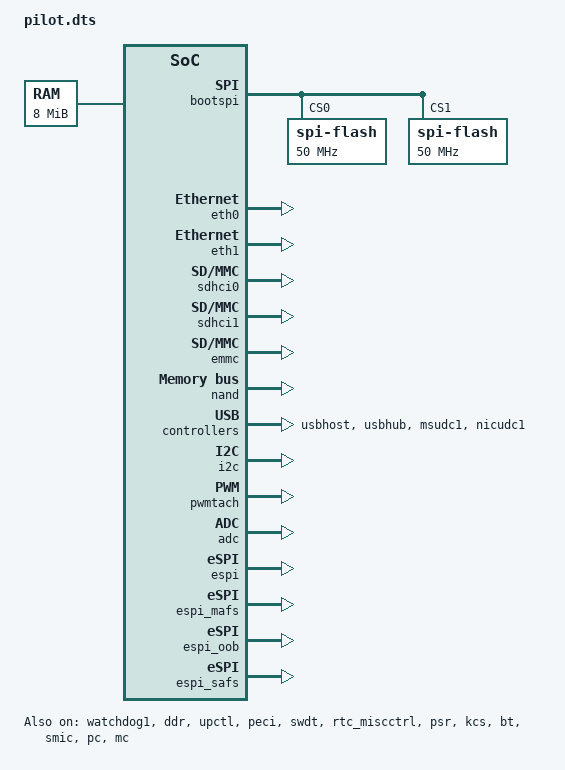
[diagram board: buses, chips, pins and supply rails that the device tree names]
/*
 * Copyright (C) 2018  ASpeed Technology
 *
 * This software is licensed under the terms of the GNU General Public
 * License version 2, as published by the Free Software Foundation, and
 * may be copied, distributed, and modified under those terms.
 *
 * This program is distributed in the hope that it will be useful,
 * but WITHOUT ANY WARRANTY; without even the implied warranty of
 * MERCHANTABILITY or FITNESS FOR A PARTICULAR PURPOSE.  See the
 * GNU General Public License for more details.
 */

/dts-v1/;
/include/ "pilot.dtsi"

/ {
	compatible = "aspeed,pilot";

	memory {
		device_type = "memory";
		reg = <0x9F700000 0x800000>;
	};

	aliases {
		serial0 = &uart0;
		spi0= &bootspi;
	};

};

&bootspi {
	bus-num = <0>;
	status = "okay";
	spi-flash@0{
		compatible = "spi-flash";
		reg = <0>;
		spi-max-frequency = <50000000>; /* input clock */
	};
	spi-flash@1{
		compatible = "spi-flash";
		reg = <1>;
		spi-max-frequency = <50000000>; /* input clock */
	};
};

&watchdog1 {
	status = "okay";
};

&ddr {
	status = "okay";
};

&eth0 {
	status = "okay";
};

&eth1 {
    status = "okay";
};


&sdhci0 {
    status = "okay";
};

&sdhci1 {
	status = "okay";
};

&emmc {
    status = "okay";
};

&nand {
    status = "okay";
};

&usbhost{
    status = "okay";
};

&usbhub{
    status = "okay";
};

&msudc1{
    status = "okay";
};

&nicudc1{
    status = "okay";
};

&i2c{
	    status = "okay";
};

&upctl{
	    status = "okay";
};

&peci{
	    status = "okay";
};

&swdt{
	    status = "okay";
};

&gpio{
	    status = "okay";
};

&rtc_miscctrl{
	    status = "okay";
};

&psr{
	    status = "okay";
};

&pwmtach{
	    status = "okay";
};

&kcs{
	    status = "okay";
};

&bt{
	    status = "okay";
};

&mailbox{
	    status = "okay";
};

&smic{
	    status = "okay";
};

&pc{
	    status = "okay";
};

&mc{
	    status = "okay";
};

&adc{
	    status = "okay";
};

&espi{
	    status = "okay";
};

&espi_mafs{
	    status = "okay";
};

&espi_oob{
	    status = "okay";
};

&espi_safs{
	    status = "okay";
};

